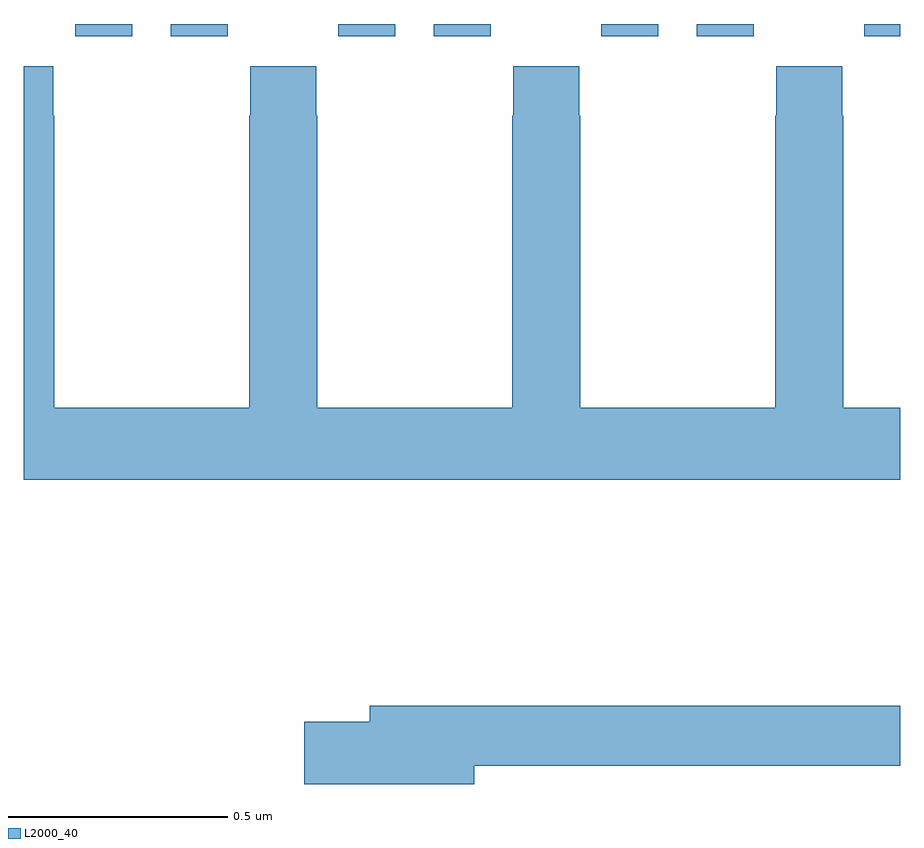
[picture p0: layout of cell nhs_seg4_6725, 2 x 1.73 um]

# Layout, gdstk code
import gdstk
lib = gdstk.Library(unit=1e-6, precision=1e-09)
def R(c, l, rs):  # rectangles x0, y0, x1, y1
    for r in rs: c.add(gdstk.rectangle(r[:2], r[2:], *l))
def P(c, l, *ps):  # polygons
    for p in ps: c.add(gdstk.Polygon(p, *l))
L2000_40 = (2000, 40)

nhs_seg4_6725 = lib.new_cell('nhs_seg4_6725')
R(nhs_seg4_6725, L2000_40, [(194.118,757.872,194.248,757.9), (194.336,757.872,194.466,757.9), (194.718,757.872,194.848,757.9), (194.936,757.872,195.066,757.9), (195.318,757.872,195.448,757.9), (195.536,757.872,195.666,757.9), (195.918,757.872,196,757.9)])
P(nhs_seg4_6725, L2000_40, [(196,757.024),(195.87,757.024),(195.87,757.691),(195.867,757.691),(195.867,757.804),(195.717,757.804),(195.717,757.691),(195.715,757.691),(195.715,757.024),(195.27,757.024),(195.27,757.691),(195.267,757.691),(195.267,757.804),(195.117,757.804),(195.117,757.691),(195.115,757.691),(195.115,757.024),(194.67,757.024),(194.67,757.691),(194.667,757.691),(194.667,757.804),(194.517,757.804),(194.517,757.691),(194.515,757.691),(194.515,757.024),(194.07,757.024),(194.07,757.691),(194.067,757.691),(194.067,757.804),(194,757.804),(194,756.86),(196,756.86)],
  [(195.028,756.208),(196,756.208),(196,756.344),(194.789,756.344),(194.789,756.308),(194.64,756.308),(194.64,756.166),(195.028,756.166)])

lib.write_gds('nhs_seg4_6725.gds')
